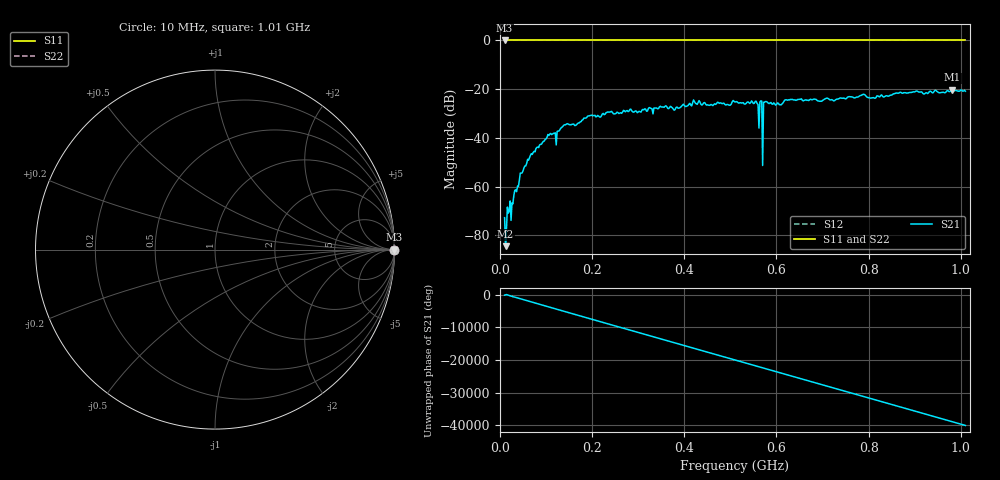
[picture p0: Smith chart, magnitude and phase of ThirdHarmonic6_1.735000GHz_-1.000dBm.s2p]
! 8/16/2025 8:54:35 PM
! C:\ANRITSUVNA\TEMP\TEMP.S2P
! CHANNEL.1
! TR.MEASUREMENT
! RAW.DATA
! RF.CORRECTION.OFF
! AVERAGING.OFF
! IF.BANDWIDTH: 5KHZ
! SWEEPTYPE:  FREQ.SWEEP(Linear)
! Reference Plane Port Info
! PORT:  PORT1  PORT2
! DISTANCE:  0  m  0  m
! TIME:  0  s  0  s
! PHASE.OFFSET:  0  deg.  0  deg.
! LOSS:  0  dB  0  dB
! REF.LOSS:  0  dB  0  dB
! REF.FREQ:  0  Hz  0  Hz
! Power Info
! POWER:  -20  dBm  -20  dBm
! EFF.POWER:  -20  dBm  -20  dBm
! SOURCE.ATTEN:  0  dB  0  dB
! TEST.ATTEN:  0  dB  0  dB
# GHZ S RI R 50.0
! FREQ.GHZ  S11RE  S11IM  S21RE  S21IM  S12RE  S12IM  S22RE  S22IM
!; PortSelection: Port_12
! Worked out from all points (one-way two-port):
!   501 points, 10 MHz to 1.01 GHz, reference 50 ohm
!   highest |S21| = -20.22 dB at 982 MHz (marker M1); lowest = -84.5 dB at 12 MHz (marker M2)
!   lowest |S11| = 0.0 dB at 10 MHz (marker M3)
!   |S11| at or under -10 dB: nowhere
!   |S22| runs from 0.0 to 0.0 dB; largest |S21 - S12| = 1.1
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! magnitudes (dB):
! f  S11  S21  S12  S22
! 10 MHz  0.0  -72.8  0.0  0.0
! 12 MHz  0.0  -84.5  0.0  0.0
! 28 MHz  0.0  -67.1  0.0  0.0
! 48 MHz  0.0  -54.4  0.0  0.0
! 70 MHz  0.0  -46.8  0.0  0.0
! 106 MHz  0.0  -39.1  0.0  0.0
! 178 MHz  0.0  -32.7  0.0  0.0
! 238 MHz  0.0  -29.4  0.0  0.0
! 344 MHz  0.0  -28.0  0.0  0.0
! 510 MHz  0.0  -25.3  0.0  0.0
! 556 MHz  0.0  -25.0  0.0  0.0
! 558 MHz  0.0  -25.9  0.0  0.0
! 564 MHz  0.0  -25.3  0.0  0.0
! 566 MHz  0.0  -24.8  0.0  0.0
! 568 MHz  0.0  -24.9  0.0  0.0
! 574 MHz  0.0  -25.3  0.0  0.0
! 576 MHz  0.0  -25.1  0.0  0.0
! 608 MHz  0.0  -26.4  0.0  0.0
! 678 MHz  0.0  -24.3  0.0  0.0
! 844 MHz  0.0  -22.8  0.0  0.0
! 982 MHz  0.0  -20.2  0.0  0.0
! 1.01 GHz  0.0  -20.8  0.0  0.0
